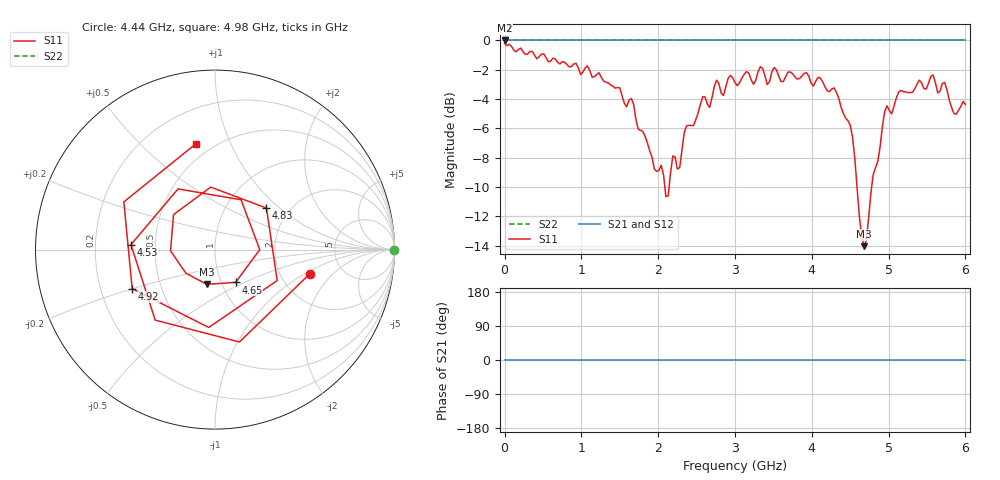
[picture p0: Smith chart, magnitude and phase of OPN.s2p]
!Keysight Technologies N9916A: A.08.06
!Date: Thursday, 30 May 2024 20:10:53
!Timezone: (GMT+10:00) Brisbane
!Model: N9916A
!Serial: MY53102361
!GPS Latitude:
!GPS Longitude:
!GPS TimeStamp: 0001-01-01 00:00:00Z
!GPS Seconds Since Last Read: 0
!CHECKSUM:1568369503
!Correction: S11(Rdy)S21()S12()S22()
!S2P File: Measurements:S11,S21,S12,S22:
# Hz S RI R 50
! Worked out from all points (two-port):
!   201 points, 30 kHz to 6 GHz, reference 50 ohm
!   highest |S21| = 0.00 dB at 30 kHz (marker M1); lowest = 0.0 dB at 30 kHz (marker M2)
!   |S21| within 3 dB of the highest: start of sweep to end of sweep
!   lowest |S11| = -14.0 dB at 4.68 GHz (marker M3), VSWR 1.50, Z = 42.4 - j17.1 ohm
!   |S11| at or under -10 dB: 2.087 GHz to 2.142 GHz (55.1 MHz wide, 2.61 % of centre); 4.589 GHz to 4.779 GHz (190.7 MHz wide, 4.07 % of centre)
!   |S22| runs from 0.0 to 0.0 dB; largest |S21 - S12| = 0
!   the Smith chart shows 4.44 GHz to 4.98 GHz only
!   S11 on the Smith chart (normalised r, x): 4.44 GHz: 2.90, -1.12; 4.53 GHz: 0.36, +0.03; 4.65 GHz: 1.17, -0.45; 4.83 GHz: 1.54, +0.82; 4.92 GHz: 0.34, -0.20; 4.98 GHz: 0.41, +0.75
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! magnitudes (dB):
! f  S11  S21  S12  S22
! 30 kHz  -0.2  0.0  0.0  0.0
! 1.02 GHz  -2.2  0.0  0.0  0.0
! 1.65 GHz  -4.0  0.0  0.0  0.0
! 2.01 GHz  -8.9  0.0  0.0  0.0
! 2.13 GHz  -10.6  0.0  0.0  0.0
! 2.19 GHz  -7.9  0.0  0.0  0.0
! 2.28 GHz  -8.7  0.0  0.0  0.0
! 2.34 GHz  -6.3  0.0  0.0  0.0
! 2.58 GHz  -3.8  0.0  0.0  0.0
! 3 GHz  -2.9  0.0  0.0  0.0
! 4.02 GHz  -3.1  0.0  0.0  0.0
! 4.44 GHz  -5.3  0.0  0.0  0.0
! 4.53 GHz  -6.6  0.0  0.0  0.0
! 4.65 GHz  -13.3  0.0  0.0  0.0
! 4.68 GHz  -14.0  0.0  0.0  0.0
! 4.83 GHz  -8.7  0.0  0.0  0.0
! 4.92 GHz  -5.8  0.0  0.0  0.0
! 4.98 GHz  -4.5  0.0  0.0  0.0
! 5.01 GHz  -4.8  0.0  0.0  0.0
! 5.58 GHz  -2.4  0.0  0.0  0.0
! 5.85 GHz  -5.0  0.0  0.0  0.0
! 6 GHz  -4.4  0.0  0.0  0.0
